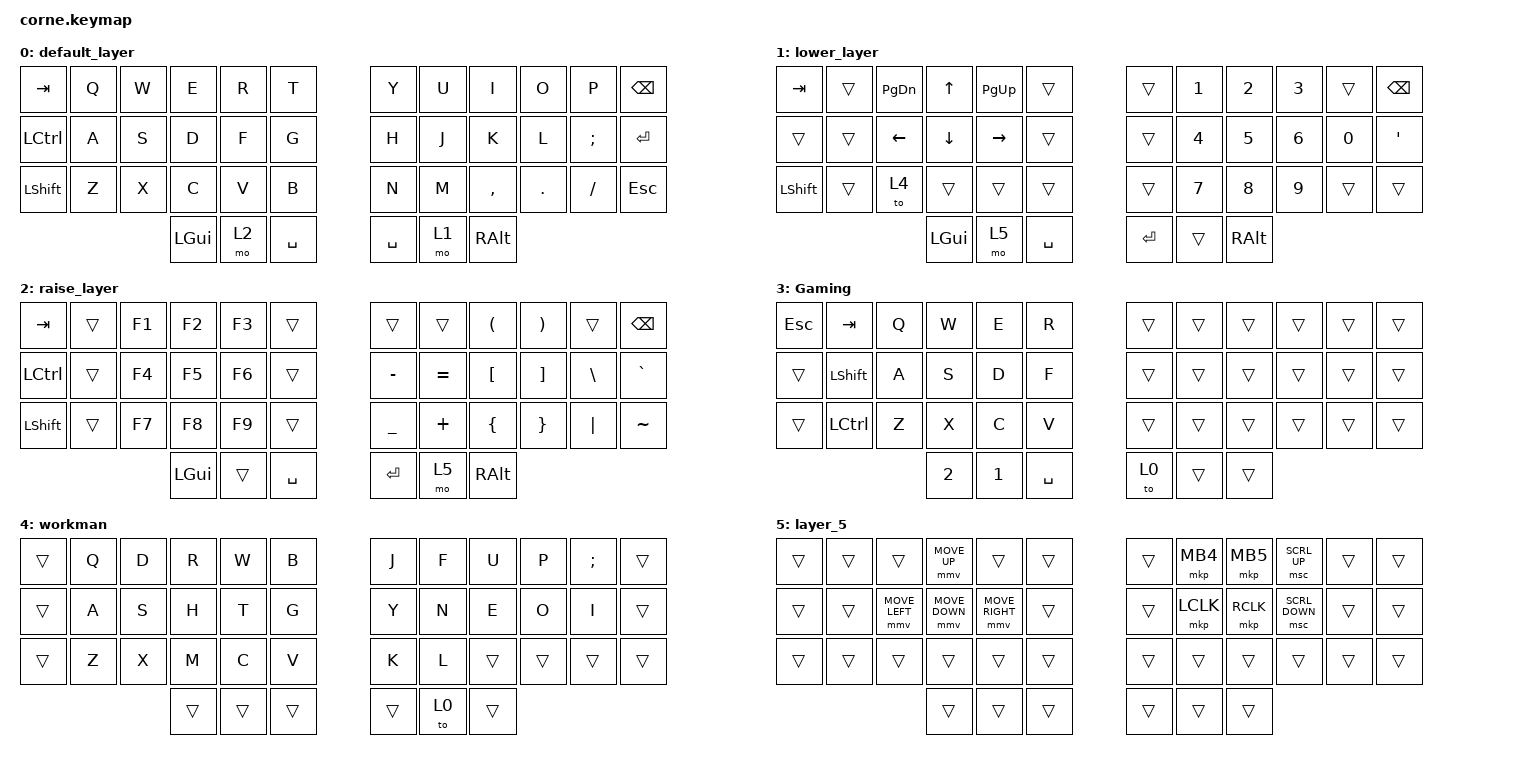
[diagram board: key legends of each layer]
/*
 * Copyright (c) 2020 The ZMK Contributors
 *
 * SPDX-License-Identifier: MIT
 */

#include <behaviors.dtsi>
#include <dt-bindings/zmk/keys.h>

#define ZMK_POINTING_DEFAULT_MOVE_VAL 1000  // default: 600
#define ZMK_POINTING_DEFAULT_SCRL_VAL 15    // default: 10
#include <dt-bindings/zmk/pointing.h>

/ {
    keymap {
        compatible = "zmk,keymap";

        default_layer {
            // -----------------------------------------------------------------------------------------
            // |  TAB |  Q  |  W  |  E  |  R  |  T  |   |  Y  |  U   |  I  |  O  |  P  | BKSP |
            // | CTRL |  A  |  S  |  D  |  F  |  G  |   |  H  |  J   |  K  |  L  |  ;  |  '   |
            // | SHFT |  Z  |  X  |  C  |  V  |  B  |   |  N  |  M   |  ,  |  .  |  /  | ESC  |
            //                    | GUI | LWR | SPC |   | ENT | RSE  | ALT |

            bindings = <
&kp TAB    &kp Q  &kp W  &kp E     &kp R  &kp T        &kp Y      &kp U  &kp I      &kp O    &kp P     &kp BSPC
&kp LCTRL  &kp A  &kp S  &kp D     &kp F  &kp G        &kp H      &kp J  &kp K      &kp L    &kp SEMI  &kp RET
&kp LSHFT  &kp Z  &kp X  &kp C     &kp V  &kp B        &kp N      &kp M  &kp COMMA  &kp DOT  &kp FSLH  &kp ESC
                         &kp LGUI  &mo 2  &kp SPACE    &kp SPACE  &mo 1  &kp RALT
            >;
        };

        lower_layer {
            // -----------------------------------------------------------------------------------------
            // |  TAB |  1  |  2  |  3  |  4  |  5  |   |  6  |  7  |  8  |  9  |  0  | BKSP |
            // | BTCLR| BT1 | BT2 | BT3 | BT4 | BT5 |   | LFT | DWN |  UP | RGT |     |   '  |
            // | SHFT |     |     |     |     |     |   |     |     |     |     |     |      |
            //                    | GUI |     | SPC |   | SPC |     | ALT |

            bindings = <
&kp TAB    &trans  &kp PAGE_DOWN   &kp UP_ARROW    &kp PAGE_UP  &trans       &trans   &kp NUMBER_1  &kp NUMBER_2  &kp NUMBER_3  &trans  &kp BSPC
&trans     &trans  &kp LEFT_ARROW  &kp DOWN_ARROW  &kp RIGHT    &trans       &trans   &kp NUMBER_4  &kp N5        &kp NUMBER_6  &kp N0  &kp SQT
&kp LSHFT  &trans  &to 4           &trans          &trans       &trans       &trans   &kp N7        &kp N8        &kp N9        &trans  &trans
                                   &kp LGUI        &mo 5        &kp SPACE    &kp RET  &trans        &kp RALT
            >;
        };

        raise_layer {
            // -----------------------------------------------------------------------------------------
            // |  TAB |  !  |  @  |  #  |  $  |  %  |   |  ^  |  &  |  *  |  (  |  )  | BKSP |
            // | CTRL |     |     |     |     |     |   |  -  |  =  |  [  |  ]  |  \  |  `   |
            // | SHFT |     |     |     |     |     |   |  _  |  +  |  {  |  }  | "|" |  ~   |
            //                    | GUI |     | SPC |   | ENT |     | ALT |

            bindings = <
&kp TAB    &trans  &kp F1  &kp F2    &kp F3  &trans       &trans     &trans     &kp LEFT_PARENTHESIS  &kp RIGHT_PARENTHESIS  &trans    &kp BSPC
&kp LCTRL  &trans  &kp F4  &kp F5    &kp F6  &trans       &kp MINUS  &kp EQUAL  &kp LBKT              &kp RBKT               &kp BSLH  &kp GRAVE
&kp LSHFT  &trans  &kp F7  &kp F8    &kp F9  &trans       &kp UNDER  &kp PLUS   &kp LBRC              &kp RBRC               &kp PIPE  &kp TILDE
                           &kp LGUI  &trans  &kp SPACE    &kp RET    &mo 5      &kp RALT
            >;
        };

        Gaming {
            bindings = <
&kp ESCAPE  &kp TAB         &kp Q  &kp W         &kp E         &kp R        &trans  &trans  &trans  &trans  &trans  &trans
&trans      &kp LEFT_SHIFT  &kp A  &kp S         &kp D         &kp F        &trans  &trans  &trans  &trans  &trans  &trans
&trans      &kp LCTRL       &kp Z  &kp X         &kp C         &kp V        &trans  &trans  &trans  &trans  &trans  &trans
                                   &kp NUMBER_2  &kp NUMBER_1  &kp SPACE    &to 0   &trans  &trans
            >;
        };

        workman {
            bindings = <
&trans  &kp Q  &kp D  &kp R   &kp W   &kp B     &kp J   &kp F  &kp U   &kp P   &kp SEMICOLON  &trans
&trans  &kp A  &kp S  &kp H   &kp T   &kp G     &kp Y   &kp N  &kp E   &kp O   &kp I          &trans
&trans  &kp Z  &kp X  &kp M   &kp C   &kp V     &kp K   &kp L  &trans  &trans  &trans         &trans
                      &trans  &trans  &trans    &trans  &to 0  &trans
            >;
        };

        layer_5 {
            bindings = <
&trans  &trans  &trans          &mmv MOVE_UP    &trans           &trans    &trans  &mkp MB4   &mkp MB5   &msc SCRL_UP    &trans  &trans
&trans  &trans  &mmv MOVE_LEFT  &mmv MOVE_DOWN  &mmv MOVE_RIGHT  &trans    &trans  &mkp LCLK  &mkp RCLK  &msc SCRL_DOWN  &trans  &trans
&trans  &trans  &trans          &trans          &trans           &trans    &trans  &trans     &trans     &trans          &trans  &trans
                                &trans          &trans           &trans    &trans  &trans     &trans
            >;
        };
    };
};
